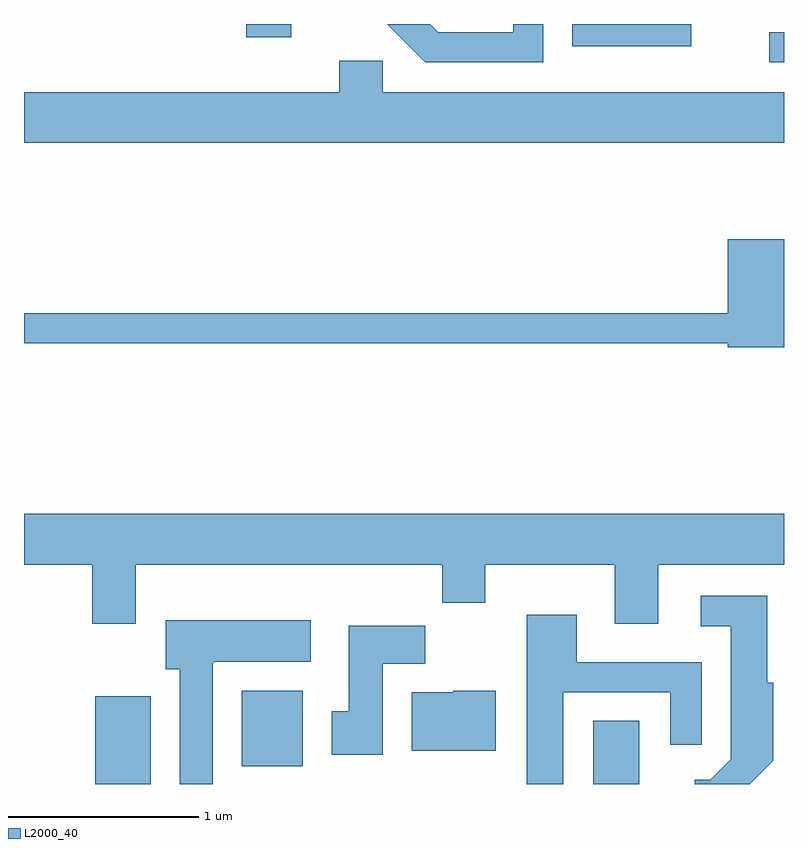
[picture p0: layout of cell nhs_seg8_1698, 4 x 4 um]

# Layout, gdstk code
import gdstk
lib = gdstk.Library(unit=1e-6, precision=1e-09)
def R(c, l, rs):  # rectangles x0, y0, x1, y1
    for r in rs: c.add(gdstk.rectangle(r[:2], r[2:], *l))
def P(c, l, *ps):  # polygons
    for p in ps: c.add(gdstk.Polygon(p, *l))
L2000_40 = (2000, 40)

nhs_seg8_1698 = lib.new_cell('nhs_seg8_1698')
R(nhs_seg8_1698, L2000_40, [(235.986,1866.342,236.279,1866.804), (238.606,1866.342,238.849,1866.674), (236.756,1866.436,237.079,1866.834), (239.533,1870.141,239.611,1870.299), (238.496,1870.226,239.124,1870.342), (236.781,1870.271,237.018,1870.342)])
P(nhs_seg8_1698, L2000_40, [(238.344,1870.342),(238.186,1870.342),(238.186,1870.299),(237.792,1870.299),(237.749,1870.342),(237.523,1870.342),(237.724,1870.141),(238.344,1870.141)],
  [(239.611,1869.984),(237.499,1869.984),(237.499,1870.149),(237.271,1870.149),(237.271,1869.984),(235.611,1869.984),(235.611,1869.716),(239.611,1869.716)],
  [(239.611,1869.209),(239.316,1869.209),(239.316,1868.819),(235.611,1868.819),(235.611,1868.661),(239.316,1868.661),(239.316,1868.641),(239.611,1868.641)],
  [(236.199,1867.496),(237.811,1867.496),(237.811,1867.296),(238.039,1867.296),(238.039,1867.496),(238.721,1867.496),(238.721,1867.186),(238.949,1867.186),(238.949,1867.496),(239.611,1867.496),(239.611,1867.764),(235.611,1867.764),(235.611,1867.496),(235.971,1867.496),(235.971,1867.186),(236.199,1867.186)],
  [(239.554,1866.464),(239.554,1866.874),(239.524,1866.874),(239.524,1867.334),(239.173,1867.334),(239.173,1867.171),(239.331,1867.171),(239.331,1866.472),(239.224,1866.364),(239.141,1866.364),(239.141,1866.342),(239.432,1866.342)],
  [(238.449,1866.826),(239.011,1866.826),(239.011,1866.548),(239.179,1866.548),(239.179,1866.984),(238.519,1866.984),(238.519,1867.234),(238.256,1867.234),(238.256,1866.342),(238.449,1866.342)],
  [(236.604,1866.98),(236.61,1866.98),(236.61,1866.986),(237.119,1866.986),(237.119,1867.204),(236.356,1867.204),(236.356,1866.946),(236.431,1866.946),(236.431,1866.342),(236.604,1866.342)],
  [(237.499,1866.976),(237.724,1866.976),(237.724,1867.174),(237.321,1867.174),(237.321,1866.724),(237.231,1866.724),(237.231,1866.496),(237.499,1866.496)],
  [(238.094,1866.834),(237.87,1866.834),(237.87,1866.824),(237.651,1866.824),(237.651,1866.516),(238.094,1866.516)])

lib.write_gds('nhs_seg8_1698.gds')
